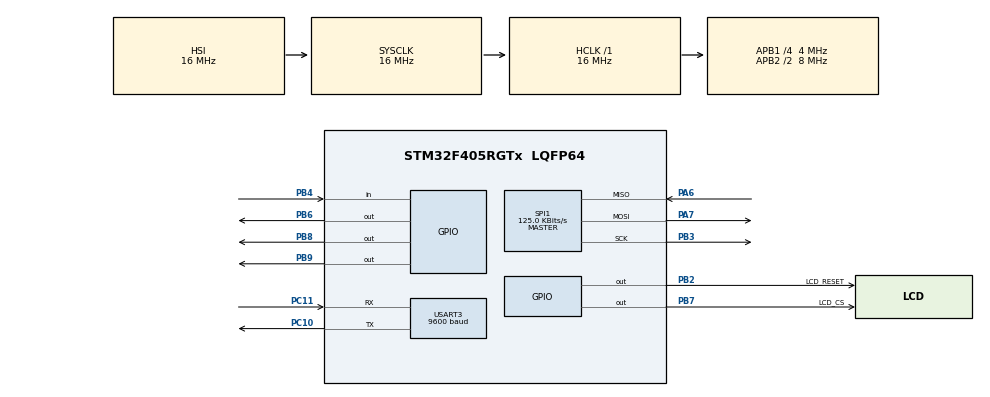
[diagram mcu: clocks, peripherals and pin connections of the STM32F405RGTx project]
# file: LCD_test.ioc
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Mcu.Family=STM32F4
Mcu.Name=STM32F405RGTx
Mcu.Package=LQFP64
NVIC.PriorityGroup=NVIC_PRIORITYGROUP_4
PA6.Mode=Full_Duplex_Master
PA6.Signal=SPI1_MISO
PA7.Mode=Full_Duplex_Master
PA7.Signal=SPI1_MOSI
PB2.GPIO_Label=LCD_RESET
PB2.Signal=GPIO_Output
PB3.Mode=Full_Duplex_Master
PB3.Signal=SPI1_SCK
PB4.Signal=GPIO_Input
PB6.Signal=GPIO_Output
PB7.GPIO_Label=LCD_CS
PB7.Signal=GPIO_Output
PB8.Signal=GPIO_Output
PB9.Signal=GPIO_Output
PC10.Mode=Asynchronous
PC10.Signal=USART3_TX
PC11.Mode=Asynchronous
PC11.Signal=USART3_RX
PH0-OSC_IN.Mode=HSE-External-Oscillator
PH0-OSC_IN.Signal=RCC_OSC_IN
PH1-OSC_OUT.Mode=HSE-External-Oscillator
PH1-OSC_OUT.Signal=RCC_OSC_OUT
ProjectManager.HeapSize=0x200
ProjectManager.StackSize=0x400
ProjectManager.TargetToolchain=STM32CubeIDE
RCC.48MHZClocksFreq_Value=48000000
RCC.AHBFreq_Value=16000000
RCC.APB1CLKDivider=RCC_HCLK_DIV4
RCC.APB1Freq_Value=4000000
RCC.APB1TimFreq_Value=8000000
RCC.APB2CLKDivider=RCC_HCLK_DIV2
RCC.APB2Freq_Value=8000000
RCC.APB2TimFreq_Value=16000000
RCC.CortexFreq_Value=16000000
RCC.HCLKFreq_Value=16000000
RCC.HSE_VALUE=25000000
RCC.HSI_VALUE=16000000
RCC.LSE_VALUE=32768
RCC.SYSCLKFreq_VALUE=16000000
RCC.VCOOutputFreq_Value=192000000
SPI1.BaudRatePrescaler=SPI_BAUDRATEPRESCALER_64
SPI1.CLKPhase=SPI_PHASE_1EDGE
SPI1.CalculateBaudRate=125.0 KBits/s
SPI1.Direction=SPI_DIRECTION_2LINES
SPI1.FirstBit=SPI_FIRSTBIT_MSB
SPI1.Mode=SPI_MODE_MASTER
SPI1.VirtualType=VM_MASTER
USART3.BaudRate=9600
USART3.VirtualMode=VM_ASYNC
board=custom

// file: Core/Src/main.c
/* USER CODE BEGIN Header */
/**
  ******************************************************************************
  * @file           : main.c
  * @brief          : Main program body
  ******************************************************************************
  * @attention
  *
  * Copyright (c) 2023 STMicroelectronics.
  * All rights reserved.
  *
  * This software is licensed under terms that can be found in the LICENSE file
  * in the root directory of this software component.
  * If no LICENSE file comes with this software, it is provided AS-IS.
  *
  ******************************************************************************
  */
/* USER CODE END Header */
#include "main.h"

/* USER CODE BEGIN Includes */
#include "LCD_lib.h"
#include "stm32f4xx.h"
/* USER CODE END Includes */

/* USER CODE BEGIN PD */
#define MAX(a, b)  (((a) > (b)) ? (a) : (b))
#define MIN(a, b)  (((a) < (b)) ? (a) : (b))

//color define
#define LCD_WIDTH    	240
#define LCD_HEIGHT   	320

#define FONT_1206    	12
#define FONT_1608    	16
#define FONT_GB2312  	16

#define WHITE          0xFFFF
#define BLACK          0x0000
#define BLUE           0x001F
#define BRED           0XF81F
#define GRED 		   	   0XFFE0
#define GBLUE		   		 0X07FF
#define RED            0xF800
#define MAGENTA        0xF81F
#define GREEN          0x07E0
#define CYAN           0x7FFF
#define YELLOW         0xFFE0
#define BROWN 		   	 0XBC40
#define BRRED 		   	 0XFC07
#define GRAY  		   	 0X8430

#define LCD_DC_H()		HAL_GPIO_WritePin(GPIOB,GPIO_PIN_8, 1)
#define LCD_DC_L()		HAL_GPIO_WritePin(GPIOB,GPIO_PIN_8, 0)

#define LCD_CS_H()		HAL_GPIO_WritePin(GPIOB,GPIO_PIN_7, 1)
#define LCD_CS_L()		HAL_GPIO_WritePin(GPIOB,GPIO_PIN_7, 0)

#define LCD_BKL_H()    HAL_GPIO_WritePin(GPIOB, GPIO_PIN_6, 1)
#define LCD_BKL_L()    HAL_GPIO_WritePin(GPIOB, GPIO_PIN_6, 0)

#define LCD_RST_H()    HAL_GPIO_WritePin(GPIOB, GPIO_PIN_2, 1)
#define LCD_RST_L()    HAL_GPIO_WritePin(GPIOB, GPIO_PIN_2, 0)

#define LCD_CMD                0
#define LCD_DATA               1
/* USER CODE END PD */

SPI_HandleTypeDef hspi1;

UART_HandleTypeDef huart3;

/* USER CODE BEGIN PV */
uint8_t chRetry = 0;
uint8_t chTemp = 0;
/* USER CODE END PV */

void SystemClock_Config(void);
static void MX_GPIO_Init(void);
static void MX_SPI1_Init(void);
static void MX_USART3_UART_Init(void);
/* USER CODE BEGIN PFP */
void spi1_communication(uint8_t send_char)
{
	while (HAL_SPI_GetState(&hspi1) != SPI_FLAG_TXE) {
		if (++ chRetry > 200) {

		}
	}

	//SPI_I2S_SendData(SPI1, send_char);
	HAL_SPI_Transmit(&hspi1, &send_char, 1, 100);

	chRetry=0;
	while (HAL_SPI_GetState(&hspi1) != SPI_FLAG_RXNE){
		if (++ chRetry > 200) {

		}
	}

	chTemp = HAL_SPI_Receive(&hspi1, &send_char, 1, 100);

	/* Wait until the BSY flag is set */
	while(HAL_SPI_GetState(&hspi1) == SPI_FLAG_BSY) {

	}
}

void lcd_set_cursor(uint16_t hwXpos, uint16_t hwYpos)
{
	if (hwXpos >= LCD_WIDTH || hwYpos >= LCD_HEIGHT) {
		return;
	}
#ifdef HX8347D_DEVICE
	lcd_write_command(0x02, hwXpos >> 8);
	lcd_write_command(0x03, hwXpos & 0xFF);
	lcd_write_command(0x06, hwYpos >> 8);
	lcd_write_command(0x07, hwYpos & 0xFF);
#elif defined ST7789_DEVICE
	lcd_write_byte(0x2A,LCD_CMD);
	lcd_write_byte(0x00,LCD_DATA);
	lcd_write_byte(hwXpos,LCD_DATA);
	lcd_write_byte(0x2B,LCD_CMD);
	lcd_write_byte((hwYpos>>8)&0xff,LCD_DATA);
	lcd_write_byte(hwYpos&0xff,LCD_DATA);
#endif
}

void lcd_clear_screen(uint16_t hwColor)
{
	uint32_t i, wCount = LCD_WIDTH;
	wCount *= LCD_HEIGHT;

#ifdef HX8347D_DEVICE
	lcd_set_cursor(0, 0);
	lcd_write_byte(0x22, LCD_CMD);
#elif defined ST7789_DEVICE
	lcd_write_byte(0x2A,LCD_CMD);
	lcd_write_byte(0x00,LCD_DATA);
	lcd_write_byte(0x00,LCD_DATA);
	lcd_write_byte(0x00,LCD_DATA);
	lcd_write_byte((LCD_WIDTH-1)&0xff,LCD_DATA);
	lcd_write_byte(0x2B,LCD_CMD);
	lcd_write_byte(0x00,LCD_DATA);
	lcd_write_byte(0x00,LCD_DATA);
	lcd_write_byte(((LCD_HEIGHT-1)>>8)&0xff,LCD_DATA);
	lcd_write_byte((LCD_HEIGHT-1)&0xff,LCD_DATA);
	lcd_write_byte(0x2C,LCD_CMD);
#endif
	LCD_CS_L();
	LCD_DC_H();
	for(i=0;i<wCount;i++){
#ifdef HX8347D_DEVICE
//		spi1_communication((uint8_t)(hwColor&0xff));
//		spi1_communication(hwColor>>8);

		spi1_communication(hwColor>>8);
		spi1_communication((uint8_t)(hwColor&0xff));
#elif defined ST7789_DEVICE
		spi1_communication(hwColor>>8);
		spi1_communication((uint8_t)(hwColor&0xff));
#endif
	}
	LCD_CS_H();
}

void lcd_init(void)
{
	//lcd_ctrl_port_init();
	LCD_RST_H();
	//spi_init();

	LCD_CS_H();
	LCD_BKL_H();
#ifdef 	ST7789_DEVICE
	LCD_RST_H();
	HAL_Delay(5);
	LCD_RST_L();
	HAL_Delay(5);
	LCD_RST_H();
	HAL_Delay(5);
	LCD_CS_H();
#endif

#ifdef HX8347D_DEVICE
	lcd_write_command(0xEA,0x00);
	lcd_write_command(0xEB,0x20);
	lcd_write_command(0xEC,0x0C);
	lcd_write_command(0xED,0xC4);
	lcd_write_command(0xE8,0x38);
	lcd_write_command(0xE9,0x10);
	lcd_write_command(0xF1,0x01);
	lcd_write_command(0xF2,0x10);
	lcd_write_command(0x40,0x01);
	lcd_write_command(0x41,0x00);
	lcd_write_command(0x42,0x00);
	lcd_write_command(0x43,0x10);
	lcd_write_command(0x44,0x0E);
	lcd_write_command(0x45,0x24);
	lcd_write_command(0x46,0x04);
	lcd_write_command(0x47,0x50);
	lcd_write_command(0x48,0x02);
	lcd_write_command(0x49,0x13);
	lcd_write_command(0x4A,0x19);
	lcd_write_command(0x4B,0x19);
	lcd_write_command(0x4C,0x16);
	lcd_write_command(0x50,0x1B);
	lcd_write_command(0x51,0x31);
	lcd_write_command(0x52,0x2F);
	lcd_write_command(0x53,0x3F);
	lcd_write_command(0x54,0x3F);
	lcd_write_command(0x55,0x3E);
	lcd_write_command(0x56,0x2F);
	lcd_write_command(0x57,0x7B);
	lcd_write_command(0x58,0x09);
	lcd_write_command(0x59,0x06);
	lcd_write_command(0x5A,0x06);
	lcd_write_command(0x5B,0x0C);
	lcd_write_command(0x5C,0x1D);
	lcd_write_command(0x5D,0xCC);
	lcd_write_command(0x1B,0x1B);
	lcd_write_command(0x1A,0x01);
	lcd_write_command(0x24,0x2F);
	lcd_write_command(0x25,0x57);
	lcd_write_command(0x23,0x88);
	lcd_write_command(0x18,0x34);
	lcd_write_command(0x19,0x01);
	lcd_write_command(0x01,0x00);
	lcd_write_command(0x1F,0x88);
	lcd_write_command(0x1F,0x80);
	lcd_write_command(0x1F,0x90);
	lcd_write_command(0x1F,0xD0);
	lcd_write_command(0x17,0x05);
	lcd_write_command(0x36,0x02);
	lcd_write_command(0x28,0x38);
	lcd_write_command(0x28,0x3F);
	lcd_write_command(0x16,0x18);
	lcd_write_command(0x02,0x00);
	lcd_write_command(0x03,0x00);
	lcd_write_command(0x04,0x00);
	lcd_write_command(0x05,0xEF);
	lcd_write_command(0x06,0x00);
	lcd_write_command(0x07,0x00);
	lcd_write_command(0x08,0x01);
	lcd_write_command(0x09,0x3F);

#elif defined ST7789_DEVICE
	lcd_write_byte(0x11,LCD_CMD);
	HAL_Delay(10);
	lcd_write_command(0x36,0x00);
	lcd_write_command(0x3a,0x05);
	lcd_write_byte(0xb2,LCD_CMD);
	lcd_write_byte(0x0c,LCD_DATA);
	lcd_write_byte(0x0c,LCD_DATA);
	lcd_write_byte(0x00,LCD_DATA);
	lcd_write_byte(0x33,LCD_DATA);
	lcd_write_byte(0x33,LCD_DATA);
	lcd_write_command(0xb7,0x35);
	lcd_write_command(0xbb,0x28);
	lcd_write_command(0xc0,0x3c);
	lcd_write_command(0xc2,0x01);
	lcd_write_command(0xc3,0x0b);
	lcd_write_command(0xc4,0x20);
	lcd_write_command(0xc6,0x0f);
	lcd_write_byte(0xD0,LCD_CMD);
	lcd_write_byte(0xa4,LCD_DATA);
	lcd_write_byte(0xa1,LCD_DATA);
	lcd_write_byte(0xe0,LCD_CMD);
	lcd_write_byte(0xd0,LCD_DATA);
	lcd_write_byte(0x01,LCD_DATA);
	lcd_write_byte(0x08,LCD_DATA);
	lcd_write_byte(0x0f,LCD_DATA);
	lcd_write_byte(0x11,LCD_DATA);
	lcd_write_byte(0x2a,LCD_DATA);
	lcd_write_byte(0x36,LCD_DATA);
	lcd_write_byte(0x55,LCD_DATA);
	lcd_write_byte(0x44,LCD_DATA);
	lcd_write_byte(0x3a,LCD_DATA);
	lcd_write_byte(0x0b,LCD_DATA);
	lcd_write_byte(0x06,LCD_DATA);
	lcd_write_byte(0x11,LCD_DATA);
	lcd_write_byte(0x20,LCD_DATA);
	lcd_write_byte(0xe1,LCD_CMD);
	lcd_write_byte(0xd0,LCD_DATA);
	lcd_write_byte(0x02,LCD_DATA);
	lcd_write_byte(0x07,LCD_DATA);
	lcd_write_byte(0x0a,LCD_DATA);
	lcd_write_byte(0x0b,LCD_DATA);
	lcd_write_byte(0x18,LCD_DATA);
	lcd_write_byte(0x34,LCD_DATA);
	lcd_write_byte(0x43,LCD_DATA);
	lcd_write_byte(0x4a,LCD_DATA);
	lcd_write_byte(0x2b,LCD_DATA);
	lcd_write_byte(0x1b,LCD_DATA);
	lcd_write_byte(0x1c,LCD_DATA);
	lcd_write_byte(0x22,LCD_DATA);
	lcd_write_byte(0x1f,LCD_DATA);
	lcd_write_byte(0x29,LCD_CMD);
	lcd_write_command(0x51,0xff);
	lcd_write_command(0x55,0xB0);
#endif

	lcd_clear_screen(WHITE);
}

void lcd_write_byte(uint8_t chByte, uint8_t chCmd)
{
    if(chCmd) {
        LCD_DC_H();
    } else {
        LCD_DC_L();
    }

    LCD_CS_L();
    spi1_communication(chByte);
    LCD_CS_H();
}

void lcd_write_command(uint8_t chRegister, uint8_t chValue)
{
	lcd_write_byte(chRegister, LCD_CMD);
	lcd_write_byte(chValue, LCD_DATA);
}

void lcd_write_word(uint16_t hwData)
{
    LCD_DC_H();
    LCD_CS_L();
    spi1_communication(hwData >> 8);
    spi1_communication(hwData & 0xFF);
    LCD_CS_H();
}

void lcd_draw_dot(uint16_t hwXpos, uint16_t hwYpos, uint16_t hwColor)
{
	if (hwXpos >= LCD_WIDTH || hwYpos >= LCD_HEIGHT) {
		return;
	}
	lcd_set_cursor(hwXpos, hwYpos);
#ifdef HX8347D_DEVICE
	lcd_write_byte(0x22, LCD_CMD);
#elif defined ST7789_DEVICE
	lcd_write_byte(0x2C, LCD_CMD);
#endif
	lcd_write_word(hwColor);

}

void lcd_display_char(	 uint16_t hwXpos,
                         uint16_t hwYpos,
                         uint8_t chChr,
                         uint8_t chSize,
                         uint16_t hwColor)
{
	uint8_t i, j, chTemp;
	uint16_t hwYpos0 = hwYpos, hwColorVal = 0;

	if (hwXpos >= LCD_WIDTH || hwYpos >= LCD_HEIGHT) {
		return;
	}
#ifdef HX8347D_DEVICE

#elif defined ST7789_DEVICE
	lcd_write_byte(0x2A,LCD_CMD);
	lcd_write_byte(0x00,LCD_DATA);
	lcd_write_byte(hwXpos,LCD_DATA);
	lcd_write_byte((hwXpos) >> 8,LCD_DATA);
	lcd_write_byte((hwXpos) & 0xFF,LCD_DATA);

	lcd_write_byte(0x2B,LCD_CMD);
	lcd_write_byte(hwYpos >> 8,LCD_DATA);
	lcd_write_byte(hwYpos & 0xFF,LCD_DATA);
	lcd_write_byte((hwYpos) >> 8,LCD_DATA);
	lcd_write_byte((hwYpos) & 0xFF,LCD_DATA);
	lcd_write_byte(0x2C, LCD_CMD);
#endif
    for (i = 0; i < chSize; i ++) {
				if (FONT_1206 == chSize) {
					chTemp = c_chFont1206[chChr - 0x20][i];
				}
				else if (FONT_1608 == chSize) {
					chTemp = c_chFont1608[chChr - 0x20][i];
				}
        for (j = 0; j < 8; j ++) {
					if (chTemp & 0x80) {
						hwColorVal = hwColor;
						lcd_draw_dot(hwXpos, hwYpos, hwColorVal);
					}
					chTemp <<= 1;
					hwYpos ++;
					if ((hwYpos - hwYpos0) == chSize) {
						hwYpos = hwYpos0;
						hwXpos ++;
						break;
					}
				}
    }
}

void lcd_display_string(uint16_t hwXpos,uint16_t hwYpos,
													const uint8_t *pchString,
													uint8_t chSize,uint16_t hwColor)
{

	if (hwXpos >= LCD_WIDTH || hwYpos >= LCD_HEIGHT) {
		return;
	}

    while (*pchString != '\0') {
        if (hwXpos > (LCD_WIDTH - chSize / 2)) {
					hwXpos = 0;
					hwYpos += chSize;
					if (hwYpos > (LCD_HEIGHT - chSize)) {
						hwYpos = hwXpos = 0;
						lcd_clear_screen(0x00);
					}
				}

        lcd_display_char(hwXpos, hwYpos, (uint8_t)*pchString, chSize, hwColor);
        hwXpos += chSize / 2;
        pchString ++;
    }
}

void lcd_display_GB2312(  uint8_t gb, uint16_t color_front,
													uint16_t postion_x,uint16_t postion_y )
{
	uint8_t i, j,chTemp;
	uint16_t hwYpos0 = postion_y, hwColorVal = 0;

	if (postion_x >= LCD_WIDTH || postion_y >= LCD_HEIGHT) {
		return;
	}

	for (i = 0; i < 32; i++) {
		chTemp = GB2312[gb][i];
		for (j = 0; j < 8; j++) {
			if (chTemp & 0x80) {
					hwColorVal = color_front;
				if(i<15)
					lcd_draw_dot(postion_x, postion_y, hwColorVal);
				else
					lcd_draw_dot(postion_x-16, postion_y+8, hwColorVal);
			}
			chTemp <<= 1;
			postion_y ++;
			if ((postion_y - hwYpos0) == 8) {
				postion_y = hwYpos0;
				postion_x ++;
				break;
			}
		}
	}
}
/* USER CODE END PFP */

int main(void)
{

  /* MCU Configuration--------------------------------------------------------*/

  /* Reset of all peripherals, Initializes the Flash interface and the Systick. */
  HAL_Init();

  /* Configure the system clock */
  SystemClock_Config();

  /* Initialize all configured peripherals */
  MX_GPIO_Init();
  MX_SPI1_Init();
  MX_USART3_UART_Init();
  /* USER CODE BEGIN 2 */
  uint8_t i;
  	lcd_init();
  	lcd_display_string( 60,60,(uint8_t* )"CPU:STM32F405RGT6          ", FONT_1206, RED );
    lcd_display_string( 60,80,(uint8_t* )"www.WaveShare.net          ", FONT_1206, RED );
    for(i = 0;i<7;i++){
    	lcd_display_GB2312( i,RED,60+i*16,100);
    }
  /* USER CODE END 2 */

  /* Infinite loop */
  while (1)
  {

  }
}

void SystemClock_Config(void)
{
  RCC_OscInitTypeDef RCC_OscInitStruct = {0};
  RCC_ClkInitTypeDef RCC_ClkInitStruct = {0};

  /** Configure the main internal regulator output voltage
  */
  __HAL_RCC_PWR_CLK_ENABLE();
  __HAL_PWR_VOLTAGESCALING_CONFIG(PWR_REGULATOR_VOLTAGE_SCALE1);

  /** Initializes the RCC Oscillators according to the specified parameters
  * in the RCC_OscInitTypeDef structure.
  */
  RCC_OscInitStruct.OscillatorType = RCC_OSCILLATORTYPE_HSI;
  RCC_OscInitStruct.HSIState = RCC_HSI_ON;
  RCC_OscInitStruct.HSICalibrationValue = RCC_HSICALIBRATION_DEFAULT;
  RCC_OscInitStruct.PLL.PLLState = RCC_PLL_NONE;
  if (HAL_RCC_OscConfig(&RCC_OscInitStruct) != HAL_OK)
  {
    Error_Handler();
  }

  /** Initializes the CPU, AHB and APB buses clocks
  */
  RCC_ClkInitStruct.ClockType = RCC_CLOCKTYPE_HCLK|RCC_CLOCKTYPE_SYSCLK
                              |RCC_CLOCKTYPE_PCLK1|RCC_CLOCKTYPE_PCLK2;
  RCC_ClkInitStruct.SYSCLKSource = RCC_SYSCLKSOURCE_HSI;
  RCC_ClkInitStruct.AHBCLKDivider = RCC_SYSCLK_DIV1;
  RCC_ClkInitStruct.APB1CLKDivider = RCC_HCLK_DIV4;
  RCC_ClkInitStruct.APB2CLKDivider = RCC_HCLK_DIV2;

  if (HAL_RCC_ClockConfig(&RCC_ClkInitStruct, FLASH_LATENCY_0) != HAL_OK)
  {
    Error_Handler();
  }
}

static void MX_SPI1_Init(void)
{

  /* SPI1 parameter configuration*/
  hspi1.Instance = SPI1;
  hspi1.Init.Mode = SPI_MODE_MASTER;
  hspi1.Init.Direction = SPI_DIRECTION_2LINES;
  hspi1.Init.DataSize = SPI_DATASIZE_8BIT;
  hspi1.Init.CLKPolarity = SPI_POLARITY_LOW;
  hspi1.Init.CLKPhase = SPI_PHASE_1EDGE;
  hspi1.Init.NSS = SPI_NSS_SOFT;
  hspi1.Init.BaudRatePrescaler = SPI_BAUDRATEPRESCALER_64;
  hspi1.Init.FirstBit = SPI_FIRSTBIT_MSB;
  hspi1.Init.TIMode = SPI_TIMODE_DISABLE;
  hspi1.Init.CRCCalculation = SPI_CRCCALCULATION_DISABLE;
  hspi1.Init.CRCPolynomial = 10;
  if (HAL_SPI_Init(&hspi1) != HAL_OK)
  {
    Error_Handler();
  }

}

static void MX_USART3_UART_Init(void)
{

  huart3.Instance = USART3;
  huart3.Init.BaudRate = 9600;
  huart3.Init.WordLength = UART_WORDLENGTH_8B;
  huart3.Init.StopBits = UART_STOPBITS_1;
  huart3.Init.Parity = UART_PARITY_NONE;
  huart3.Init.Mode = UART_MODE_TX_RX;
  huart3.Init.HwFlowCtl = UART_HWCONTROL_NONE;
  huart3.Init.OverSampling = UART_OVERSAMPLING_16;
  if (HAL_UART_Init(&huart3) != HAL_OK)
  {
    Error_Handler();
  }

}

static void MX_GPIO_Init(void)
{
  GPIO_InitTypeDef GPIO_InitStruct = {0};

  /* GPIO Ports Clock Enable */
  __HAL_RCC_GPIOH_CLK_ENABLE();
  __HAL_RCC_GPIOA_CLK_ENABLE();
  __HAL_RCC_GPIOB_CLK_ENABLE();
  __HAL_RCC_GPIOC_CLK_ENABLE();

  /*Configure GPIO pin Output Level */
  HAL_GPIO_WritePin(GPIOB, LCD_RESET_Pin|GPIO_PIN_6|LCD_CS_Pin|GPIO_PIN_8
                          |GPIO_PIN_9, GPIO_PIN_RESET);

  /*Configure GPIO pins : LCD_RESET_Pin PB6 LCD_CS_Pin PB8
                           PB9 */
  GPIO_InitStruct.Pin = LCD_RESET_Pin|GPIO_PIN_6|LCD_CS_Pin|GPIO_PIN_8
                          |GPIO_PIN_9;
  GPIO_InitStruct.Mode = GPIO_MODE_OUTPUT_PP;
  GPIO_InitStruct.Pull = GPIO_NOPULL;
  GPIO_InitStruct.Speed = GPIO_SPEED_FREQ_LOW;
  HAL_GPIO_Init(GPIOB, &GPIO_InitStruct);

  /*Configure GPIO pin : PB4 */
  GPIO_InitStruct.Pin = GPIO_PIN_4;
  GPIO_InitStruct.Mode = GPIO_MODE_INPUT;
  GPIO_InitStruct.Pull = GPIO_NOPULL;
  HAL_GPIO_Init(GPIOB, &GPIO_InitStruct);

}

void Error_Handler(void)
{
  __disable_irq();
  while (1)
  {
  }
}
